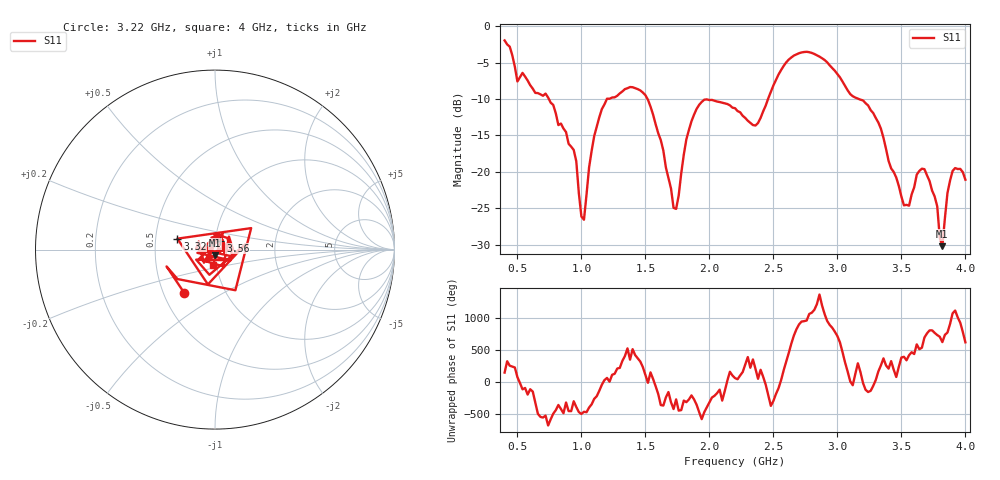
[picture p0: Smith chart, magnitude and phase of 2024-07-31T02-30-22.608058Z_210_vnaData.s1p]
!Created with skrf (http://scikit-rf.org).
# Hz S RI R 50.0
!freq ReS11 ImS11
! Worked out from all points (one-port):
!   181 points, 400 MHz to 4 GHz, reference 50 ohm
!   lowest |S11| = -30.2 dB at 3.82 GHz (marker M1), VSWR 1.06, Z = 49.7 - j3.06 ohm
!   |S11| at or under -10 dB: 745.9 MHz to 1.199 GHz (452.8 MHz wide, 46.6 % of centre); 1.517 GHz to 2.458 GHz (941.1 MHz wide, 47.4 % of centre); 3.168 GHz to end of sweep
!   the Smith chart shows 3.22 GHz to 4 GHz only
!   S11 on the Smith chart (normalised r, x): 3.22 GHz: 0.64, -0.34; 3.32 GHz: 0.65, +0.08; 3.56 GHz: 1.06, +0.11; 4 GHz: 0.96, -0.17
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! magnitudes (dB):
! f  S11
! 400 MHz  -1.9
! 500 MHz  -7.6
! 720 MHz  -9.2
! 860 MHz  -14.0
! 960 MHz  -18.6
! 1.02 GHz  -26.6
! 1.06 GHz  -19.4
! 1.14 GHz  -12.5
! 1.3 GHz  -9.2
! 1.5 GHz  -9.5
! 1.62 GHz  -15.6
! 1.72 GHz  -24.9
! 1.76 GHz  -23.3
! 1.82 GHz  -15.5
! 1.92 GHz  -10.8
! 2.2 GHz  -11.3
! 2.36 GHz  -13.6
! 2.66 GHz  -4.0
! 2.88 GHz  -4.4
! 3.1 GHz  -9.3
! 3.22 GHz  -10.6
! 3.32 GHz  -13.2
! 3.56 GHz  -24.7
! 3.68 GHz  -19.6
! 3.78 GHz  -24.7
! 3.82 GHz  -30.2
! 3.9 GHz  -19.9
! 4 GHz  -21.1
